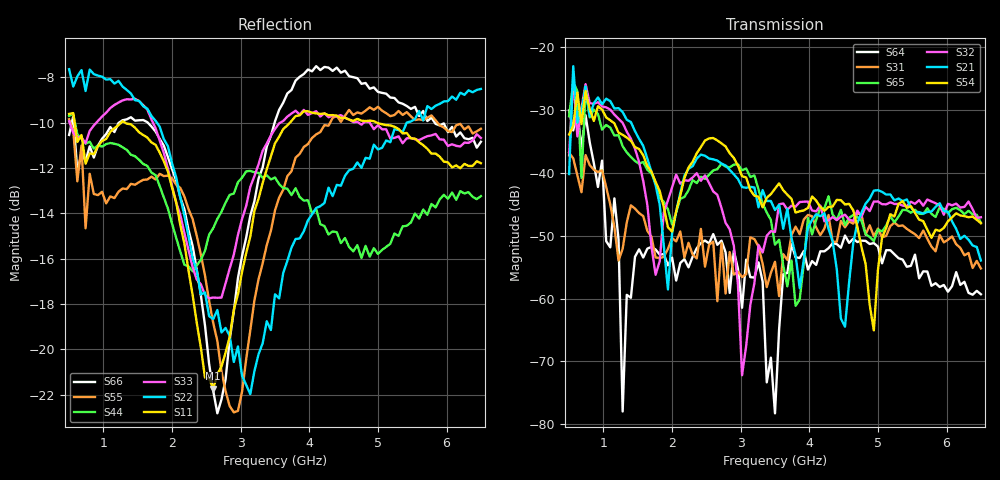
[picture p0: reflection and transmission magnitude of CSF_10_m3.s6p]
!Keysight Technologies,M9804A,MY58100912,A.14.10.03
!Date: Thursday, April 27, 2023 10:28:33
!Correction: S11(C  6-Port  )
!S12(C  6-Port  )
!S13(C  6-Port  )
!S14(C  6-Port  )
!S15(C  6-Port  )
!S16(C  6-Port  )
!S21(C  6-Port  )
!S22(C  6-Port  )
!S23(C  6-Port  )
!S24(C  6-Port  )
!S25(C  6-Port  )
!S26(C  6-Port  )
!S31(C  6-Port  )
!S32(C  6-Port  )
!S33(C  6-Port  )
!S34(C  6-Port  )
!S35(C  6-Port  )
!S36(C  6-Port  )
!S41(C  6-Port  )
!S42(C  6-Port  )
!S43(C  6-Port  )
!S44(C  6-Port  )
!S45(C  6-Port  )
!S46(C  6-Port  )
!S51(C  6-Port  )
!S52(C  6-Port  )
!S53(C  6-Port  )
!S54(C  6-Port  )
!S55(C  6-Port  )
!S56(C  6-Port  )
!S61(C  6-Port  )
!S62(C  6-Port  )
!S63(C  6-Port  )
!S64(C  6-Port  )
!S65(C  6-Port  )
!S66(C  6-Port  )
!S6P File: Measurement: :
# Hz S  RI  R 50
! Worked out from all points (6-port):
!   101 points, 500 MHz to 6.5 GHz, reference 50 ohm
!   strongest paths, dB at 500 MHz, 2 GHz, 3.5 GHz, 5 GHz, 6.5 GHz:
!     S54: -33.9, -49.3, -42.5, -55.4, -48.0
!     S21: -40.2, -49.6, -45.9, -42.7, -53.9
!     S32: -37.2, -42.3, -49.4, -44.5, -47.0
!     S65: -31.0, -48.2, -51.4, -49.0, -47.9
!     S31: -36.8, -50.4, -54.1, -48.8, -55.2
!     S64: -30.0, -53.5, -78.3, -51.7, -59.3
!   lowest |S11| = -21.7 dB at 2.6 GHz (marker M1), VSWR 1.18, Z = 42.7 + j2.01 ohm
!   |S11| at or under -10 dB: 579.9 MHz to 1.259 GHz (679.4 MHz wide, 73.9 % of centre); 1.315 GHz to 3.718 GHz (2.403 GHz wide, 95.5 % of centre); 4.983 GHz to end of sweep
